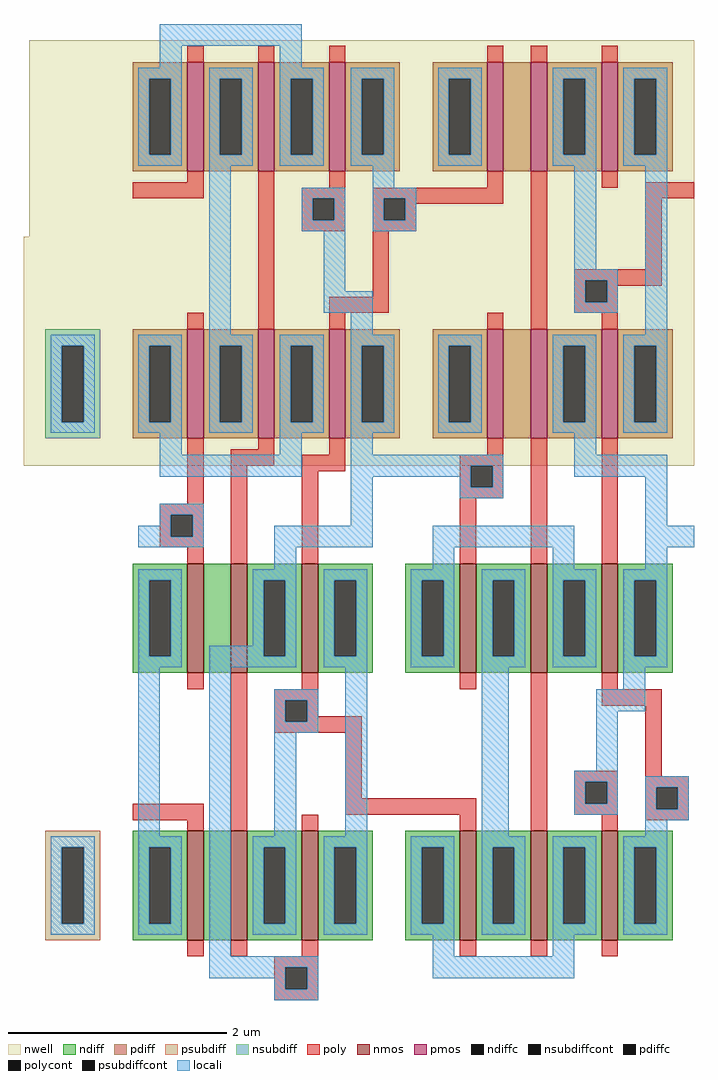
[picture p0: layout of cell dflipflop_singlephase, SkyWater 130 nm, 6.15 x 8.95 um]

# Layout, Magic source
magic
tech sky130A
<< nwell >>
rect -145 645 465 825
rect -150 435 465 645
<< nmos >>
rect 0 245 15 345
rect 40 245 55 345
rect 105 245 120 345
rect 250 245 265 345
rect 315 245 330 345
rect 380 245 395 345
rect 0 0 15 100
rect 40 0 55 100
rect 105 0 120 100
rect 250 0 265 100
rect 315 0 330 100
rect 380 0 395 100
<< pmos >>
rect 0 705 15 805
rect 65 705 80 805
rect 130 705 145 805
rect 275 705 290 805
rect 315 705 330 805
rect 380 705 395 805
rect 0 460 15 560
rect 65 460 80 560
rect 130 460 145 560
rect 275 460 290 560
rect 315 460 330 560
rect 380 460 395 560
<< ndiff >>
rect -50 330 0 345
rect -50 260 -35 330
rect -15 260 0 330
rect -50 245 0 260
rect 15 245 40 345
rect 55 330 105 345
rect 55 260 70 330
rect 90 260 105 330
rect 55 245 105 260
rect 120 330 170 345
rect 120 260 135 330
rect 155 260 170 330
rect 120 245 170 260
rect 200 330 250 345
rect 200 260 215 330
rect 235 260 250 330
rect 200 245 250 260
rect 265 330 315 345
rect 265 260 280 330
rect 300 260 315 330
rect 265 245 315 260
rect 330 330 380 345
rect 330 260 345 330
rect 365 260 380 330
rect 330 245 380 260
rect 395 330 445 345
rect 395 260 410 330
rect 430 260 445 330
rect 395 245 445 260
rect -50 85 0 100
rect -50 15 -35 85
rect -15 15 0 85
rect -50 0 0 15
rect 15 0 40 100
rect 55 85 105 100
rect 55 15 70 85
rect 90 15 105 85
rect 55 0 105 15
rect 120 85 170 100
rect 120 15 135 85
rect 155 15 170 85
rect 120 0 170 15
rect 200 85 250 100
rect 200 15 215 85
rect 235 15 250 85
rect 200 0 250 15
rect 265 85 315 100
rect 265 15 280 85
rect 300 15 315 85
rect 265 0 315 15
rect 330 85 380 100
rect 330 15 345 85
rect 365 15 380 85
rect 330 0 380 15
rect 395 85 445 100
rect 395 15 410 85
rect 430 15 445 85
rect 395 0 445 15
<< pdiff >>
rect -50 790 0 805
rect -50 720 -35 790
rect -15 720 0 790
rect -50 705 0 720
rect 15 790 65 805
rect 15 720 30 790
rect 50 720 65 790
rect 15 705 65 720
rect 80 790 130 805
rect 80 720 95 790
rect 115 720 130 790
rect 80 705 130 720
rect 145 790 195 805
rect 145 720 160 790
rect 180 720 195 790
rect 145 705 195 720
rect 225 790 275 805
rect 225 720 240 790
rect 260 720 275 790
rect 225 705 275 720
rect 290 705 315 805
rect 330 790 380 805
rect 330 720 345 790
rect 365 720 380 790
rect 330 705 380 720
rect 395 790 445 805
rect 395 720 410 790
rect 430 720 445 790
rect 395 705 445 720
rect -50 545 0 560
rect -50 475 -35 545
rect -15 475 0 545
rect -50 460 0 475
rect 15 545 65 560
rect 15 475 30 545
rect 50 475 65 545
rect 15 460 65 475
rect 80 545 130 560
rect 80 475 95 545
rect 115 475 130 545
rect 80 460 130 475
rect 145 545 195 560
rect 145 475 160 545
rect 180 475 195 545
rect 145 460 195 475
rect 225 545 275 560
rect 225 475 240 545
rect 260 475 275 545
rect 225 460 275 475
rect 290 460 315 560
rect 330 545 380 560
rect 330 475 345 545
rect 365 475 380 545
rect 330 460 380 475
rect 395 545 445 560
rect 395 475 410 545
rect 430 475 445 545
rect 395 460 445 475
<< ndiffc >>
rect -35 260 -15 330
rect 70 260 90 330
rect 135 260 155 330
rect 215 260 235 330
rect 280 260 300 330
rect 345 260 365 330
rect 410 260 430 330
rect -35 15 -15 85
rect 70 15 90 85
rect 135 15 155 85
rect 215 15 235 85
rect 280 15 300 85
rect 345 15 365 85
rect 410 15 430 85
<< pdiffc >>
rect -35 720 -15 790
rect 30 720 50 790
rect 95 720 115 790
rect 160 720 180 790
rect 240 720 260 790
rect 345 720 365 790
rect 410 720 430 790
rect -35 475 -15 545
rect 30 475 50 545
rect 95 475 115 545
rect 160 475 180 545
rect 240 475 260 545
rect 345 475 365 545
rect 410 475 430 545
<< psubdiff >>
rect -130 85 -80 100
rect -130 15 -115 85
rect -95 15 -80 85
rect -130 0 -80 15
<< nsubdiff >>
rect -130 545 -80 560
rect -130 475 -115 545
rect -95 475 -80 545
rect -130 460 -80 475
<< psubdiffcont >>
rect -115 15 -95 85
<< nsubdiffcont >>
rect -115 475 -95 545
<< poly >>
rect 0 805 15 820
rect 65 805 80 820
rect 130 805 145 820
rect 275 805 290 820
rect 315 805 330 820
rect 380 805 395 820
rect 0 695 15 705
rect -50 680 15 695
rect 0 560 15 575
rect 65 560 80 705
rect 130 690 145 705
rect 275 690 290 705
rect 105 680 145 690
rect 105 660 115 680
rect 135 660 145 680
rect 105 650 145 660
rect 170 680 290 690
rect 170 660 180 680
rect 200 675 290 680
rect 200 660 210 675
rect 170 650 210 660
rect 170 590 185 650
rect 130 575 185 590
rect 130 560 145 575
rect 275 560 290 575
rect 315 560 330 705
rect 380 690 395 705
rect 420 680 465 695
rect 420 615 435 680
rect 355 605 435 615
rect 355 585 365 605
rect 385 600 435 605
rect 385 585 395 600
rect 355 575 395 585
rect 380 560 395 575
rect 0 400 15 460
rect 65 450 80 460
rect -25 390 15 400
rect -25 370 -15 390
rect 5 370 15 390
rect -25 360 15 370
rect 0 345 15 360
rect 40 435 80 450
rect 130 445 145 460
rect 275 445 290 460
rect 40 345 55 435
rect 105 430 145 445
rect 250 435 290 445
rect 105 345 120 430
rect 250 415 260 435
rect 280 415 290 435
rect 250 405 290 415
rect 250 345 265 405
rect 315 345 330 460
rect 380 345 395 460
rect 0 230 15 245
rect -50 110 15 125
rect 0 100 15 110
rect 40 100 55 245
rect 105 230 120 245
rect 250 230 265 245
rect 80 220 120 230
rect 80 200 90 220
rect 110 205 120 220
rect 110 200 160 205
rect 80 190 160 200
rect 145 130 160 190
rect 145 115 265 130
rect 105 100 120 115
rect 250 100 265 115
rect 315 100 330 245
rect 380 230 395 245
rect 380 215 435 230
rect 355 145 395 155
rect 355 125 365 145
rect 385 125 395 145
rect 355 115 395 125
rect 380 100 395 115
rect 420 150 435 215
rect 420 140 460 150
rect 420 120 430 140
rect 450 120 460 140
rect 420 110 460 120
rect 0 -15 15 0
rect 40 -15 55 0
rect 105 -15 120 0
rect 250 -15 265 0
rect 315 -15 330 0
rect 380 -15 395 0
rect 80 -25 120 -15
rect 80 -45 90 -25
rect 110 -45 120 -25
rect 80 -55 120 -45
<< polycont >>
rect 115 660 135 680
rect 180 660 200 680
rect 365 585 385 605
rect -15 370 5 390
rect 260 415 280 435
rect 90 200 110 220
rect 365 125 385 145
rect 430 120 450 140
rect 90 -45 110 -25
<< locali >>
rect -25 820 105 840
rect -25 800 -5 820
rect 85 800 105 820
rect -45 790 -5 800
rect -45 720 -35 790
rect -15 720 -5 790
rect -45 710 -5 720
rect 20 790 60 800
rect 20 720 30 790
rect 50 720 60 790
rect 20 710 60 720
rect 85 790 125 800
rect 85 720 95 790
rect 115 720 125 790
rect 85 710 125 720
rect 150 790 190 800
rect 150 720 160 790
rect 180 720 190 790
rect 150 710 190 720
rect 230 790 270 800
rect 230 720 240 790
rect 260 720 270 790
rect 230 710 270 720
rect 335 790 375 800
rect 335 720 345 790
rect 365 720 375 790
rect 335 710 375 720
rect 400 790 440 800
rect 400 720 410 790
rect 430 720 440 790
rect 400 710 440 720
rect 20 555 40 710
rect 170 690 190 710
rect 105 680 145 690
rect 105 660 115 680
rect 135 660 145 680
rect 105 650 145 660
rect 170 680 210 690
rect 170 660 180 680
rect 200 660 210 680
rect 170 650 210 660
rect 125 595 145 650
rect 355 615 375 710
rect 355 605 395 615
rect 125 575 170 595
rect 355 585 365 605
rect 385 585 395 605
rect 355 575 395 585
rect 150 555 170 575
rect 420 555 440 710
rect -125 545 -85 555
rect -125 475 -115 545
rect -95 475 -85 545
rect -125 465 -85 475
rect -45 545 -5 555
rect -45 475 -35 545
rect -15 475 -5 545
rect -45 465 -5 475
rect 20 545 60 555
rect 20 475 30 545
rect 50 475 60 545
rect 20 465 60 475
rect 85 545 125 555
rect 85 475 95 545
rect 115 475 125 545
rect 85 465 125 475
rect 150 545 190 555
rect 150 475 160 545
rect 180 475 190 545
rect 150 465 190 475
rect 230 545 270 555
rect 230 475 240 545
rect 260 475 270 545
rect 230 465 270 475
rect 335 545 375 555
rect 335 475 345 545
rect 365 475 375 545
rect 335 465 375 475
rect 400 545 440 555
rect 400 475 410 545
rect 430 475 440 545
rect 400 465 440 475
rect -25 445 -5 465
rect 85 445 105 465
rect -25 425 105 445
rect 150 445 170 465
rect 355 445 375 465
rect 150 435 290 445
rect 150 425 260 435
rect -25 390 15 400
rect -25 380 -15 390
rect -45 370 -15 380
rect 5 370 15 390
rect 150 380 170 425
rect 250 415 260 425
rect 280 415 290 435
rect 355 425 440 445
rect 250 405 290 415
rect 420 380 440 425
rect -45 360 15 370
rect 80 360 170 380
rect 225 360 355 380
rect 80 340 100 360
rect 225 340 245 360
rect 335 340 355 360
rect 420 360 465 380
rect 420 340 440 360
rect -45 330 -5 340
rect -45 260 -35 330
rect -15 260 -5 330
rect 60 330 100 340
rect 60 270 70 330
rect -45 250 -5 260
rect 20 260 70 270
rect 90 260 100 330
rect 20 250 100 260
rect 125 330 165 340
rect 125 260 135 330
rect 155 260 165 330
rect 125 250 165 260
rect 205 330 245 340
rect 205 260 215 330
rect 235 260 245 330
rect 205 250 245 260
rect 270 330 310 340
rect 270 260 280 330
rect 300 260 310 330
rect 270 250 310 260
rect 335 330 375 340
rect 335 260 345 330
rect 365 260 375 330
rect 335 250 375 260
rect 400 330 440 340
rect 400 260 410 330
rect 430 260 440 330
rect 400 250 440 260
rect -45 95 -25 250
rect -125 85 -85 95
rect -125 15 -115 85
rect -95 15 -85 85
rect -125 5 -85 15
rect -45 85 -5 95
rect -45 15 -35 85
rect -15 15 -5 85
rect -45 5 -5 15
rect 20 -15 40 250
rect 80 220 120 230
rect 80 200 90 220
rect 110 200 120 220
rect 80 190 120 200
rect 80 95 100 190
rect 145 95 165 250
rect 270 95 295 250
rect 400 230 420 250
rect 375 210 420 230
rect 375 155 395 210
rect 355 145 395 155
rect 355 125 365 145
rect 385 125 395 145
rect 355 115 395 125
rect 420 140 460 150
rect 420 120 430 140
rect 450 120 460 140
rect 420 110 460 120
rect 420 95 440 110
rect 60 85 100 95
rect 60 15 70 85
rect 90 15 100 85
rect 60 5 100 15
rect 125 85 165 95
rect 125 15 135 85
rect 155 15 165 85
rect 125 5 165 15
rect 205 85 245 95
rect 205 15 215 85
rect 235 15 245 85
rect 205 5 245 15
rect 270 85 310 95
rect 270 15 280 85
rect 300 15 310 85
rect 270 5 310 15
rect 335 85 375 95
rect 335 15 345 85
rect 365 15 375 85
rect 335 5 375 15
rect 400 85 440 95
rect 400 15 410 85
rect 430 15 440 85
rect 400 5 440 15
rect 225 -15 245 5
rect 335 -15 355 5
rect 20 -25 120 -15
rect 20 -35 90 -25
rect 80 -45 90 -35
rect 110 -45 120 -25
rect 225 -35 355 -15
rect 80 -55 120 -45
<< end >>
